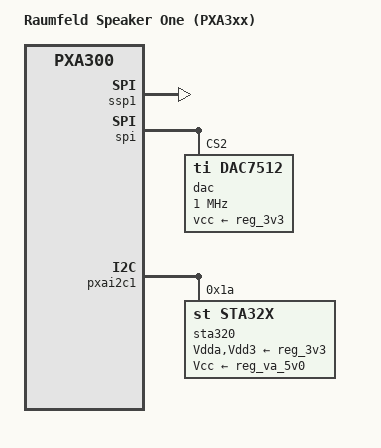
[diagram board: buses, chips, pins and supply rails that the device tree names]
/dts-v1/;

#include "pxa300-raumfeld-common.dtsi"

/ {
	model = "Raumfeld Speaker One (PXA3xx)";
	compatible = "raumfeld,raumfeld-speaker-one-pxa303", "marvell,pxa300";

	wm8782: wm8782 {
		status = "disabled";
		compatible = "wm8782";
	};

	sound {
		compatible = "simple-audio-card";
		simple-audio-card,name = "Raumfeld Speaker";
		#address-cells = <1>;
		#size-cells = <0>;

		simple-audio-card,dai-link@0 {
			reg = <0>;
			format = "i2s";
			bitclock-master = <&dailink_master_analog>;
			frame-master = <&dailink_master_analog>;
			mclk-fs = <256>;

			dailink_master_analog: cpu {
				sound-dai = <&ssp_dai0>;
				system-clock-index = <1>;	/* PXA_SSP_CLK_EXT	*/
				clock-divider-index = <2>;	/* PXA_SSP_DIV_SCR	*/
				clock-divider-value = <4>;
			};

			codec {
				sound-dai = <&sta320>;
			};
		};
	};
};

&ssp1 {
	status = "okay";
};

&spi {
	dac@2 {
		compatible = "ti,dac7512";
		reg = <2>;
		spi-max-frequency = <1000000>;
		vcc-supply = <&reg_3v3>;
	};
};

&pxai2c1 {
	sta320: codec@1a {
		compatible = "st,sta32x";
		pinctrl-names = "default";
		pinctrl-0 = <&sta320_pins>;
		reg = <0x1a>;
		Vdda-supply = <&reg_3v3>;
		Vdd3-supply = <&reg_3v3>;
		Vcc-supply = <&reg_va_5v0>;
		#sound-dai-cells = <0>;
	};
};

&pinctrl {
	sta320_pins: sta320_pins {
		pinctrl-single,pins = <
		>;
		pinctrl-single,low-power-mode = MFP_LPM(MFP_LPM_PULL_LOW);
	};
};
